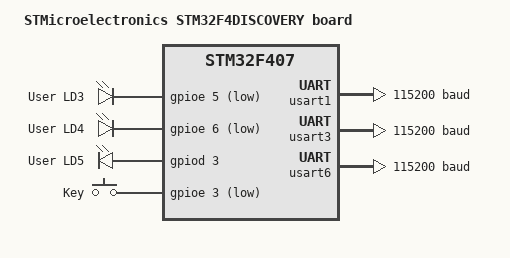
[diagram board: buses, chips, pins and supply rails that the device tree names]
/*
 * Copyright (c) 2017 Linaro Limited
 *
 * SPDX-License-Identifier: Apache-2.0
 */

/dts-v1/;
#include <st/f4/stm32f407Xg.dtsi>

/ {
	model = "STMicroelectronics STM32F4DISCOVERY board";
	compatible = "st,stm32f4discovery", "st,stm32f407";

	chosen {
		zephyr,console = &usart1;
		zephyr,shell-uart = &usart1;
		zephyr,sram = &sram0;
		zephyr,flash = &flash0;
		zephyr,ccm = &ccm0;
	};

	leds {
		compatible = "gpio-leds";
		orange_led_3: led_3 {
			gpios = <&gpioe 5 GPIO_INT_ACTIVE_LOW>;
			label = "User LD3";
		};
		green_led_4: led_4 {
			gpios = <&gpioe 6 GPIO_INT_ACTIVE_LOW>;
			label = "User LD4";
		};
		green_led_5: led_5 {
			gpios = <&gpiod 3 GPIO_INT_ACTIVE_HIGH>;
			label = "User LD5";
		};
	};

	gpio_keys {
		compatible = "gpio-keys";
		user_button: button {
			label = "Key";
			gpios = <&gpioe 3 GPIO_INT_ACTIVE_LOW>;
		};
	};

	aliases {
		led0 = &orange_led_3;
		led1 = &green_led_4;
		led2 = &green_led_5;
		sw0 = &user_button;
	};
};

&usart1 {
	current-speed = <115200>;
	pinctrl-0 = <&usart1_pins_a>;
	pinctrl-names = "default";
	status = "ok";
};

&usart3 {
	current-speed = <115200>;
	pinctrl-0 = <&usart3_pins_b>;
	pinctrl-names = "default";
	status = "ok";
};

&usart6 {
	current-speed = <115200>;
	pinctrl-0 = <&usart6_pins_b>;
	pinctrl-names = "default";
	status = "ok";
};

&timers2 {
	status = "disable";

	pwm {
		status = "disable";
	};
};

&rtc {
	status = "disable";
};

&usbotg_fs {
	status = "disable";
};
